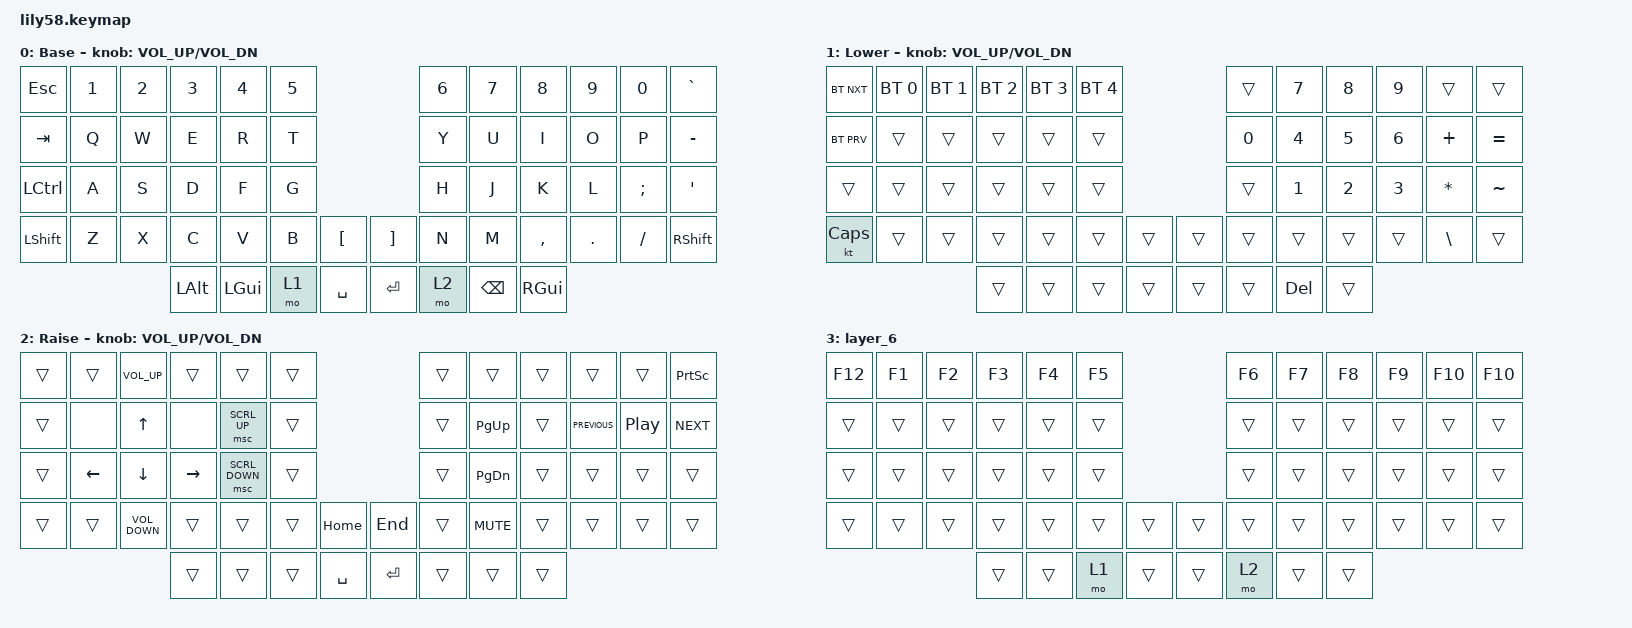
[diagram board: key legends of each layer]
/*
 * Copyright (c) 2020 The ZMK Contributors
 *
 * SPDX-License-Identifier: MIT
 */

#include <behaviors.dtsi>
#include <dt-bindings/zmk/bt.h>
#include <dt-bindings/zmk/keys.h>
#include <dt-bindings/zmk/pointing.h>

/ {
    keymap {
        compatible = "zmk,keymap";

        default_layer {
            // ------------------------------------------------------------------------------------------------------------
            // |  ESC  |  1  |  2  |  3   |  4   |  5   |                   |  6   |  7    |  8    |  9   |   0   |   `   |
            // |  TAB  |  Q  |  W  |  E   |  R   |  T   |                   |  Y   |  U    |  I    |  O   |   P   |   -   |
            // |  CTRL |  A  |  S  |  D   |  F   |  G   |                   |  H   |  J    |  K    |  L   |   ;   |   '   |
            // | SHIFT |  Z  |  X  |  C   |  V   |  B   |   "["  |  |  "]"  |  N   |  M    |  ,    |  .   |   /   | SHIFT |
            //                     | ALT  | GUI  | LOWER|  SPACE |  | ENTER | RAISE| BSPC  | GUI   |

            display-name = "Base";
            bindings = <
&kp ESC    &kp N1  &kp N2  &kp N3    &kp N4    &kp N5                         &kp N6  &kp N7    &kp N8     &kp N9   &kp N0    &kp GRAVE
&kp TAB    &kp Q   &kp W   &kp E     &kp R     &kp T                          &kp Y   &kp U     &kp I      &kp O    &kp P     &kp MINUS
&kp LCTRL  &kp A   &kp S   &kp D     &kp F     &kp G                          &kp H   &kp J     &kp K      &kp L    &kp SEMI  &kp SQT
&kp LSHFT  &kp Z   &kp X   &kp C     &kp V     &kp B   &kp LBKT     &kp RBKT  &kp N   &kp M     &kp COMMA  &kp DOT  &kp FSLH  &kp RSHFT
                           &kp LALT  &kp LGUI  &mo 1   &kp SPACE    &kp RET   &mo 2   &kp BSPC  &kp RGUI
            >;

            sensor-bindings = <&inc_dec_kp C_VOL_UP C_VOL_DN>;
        };

        lower_layer {
            // ------------------------------------------------------------------------------------------------------------
            // | BTCLR | BT1 | BT2 |  BT3 |  BT4 |  BT5 |                   |      |       |       |      |       |       |
            // |  F1   |  F2 |  F3 |  F4  |  F5  |  F6  |                   |  F7  |  F8   |  F9   |  F10 |  F11  |  F12  |
            // |   `   |  !  |  @  |  #   |  $   |  %   |                   |  ^   |  &    |  *    |  (   |   )   |   ~   |
            // |       |     |     |      |      |      |        |  |       |      |  _    |  +    |  {   |   }   |  "|"  |
            //                     |      |      |      |        |  |       |      |       |       |

            display-name = "Lower";
            bindings = <
&bt BT_NXT    &bt BT_SEL 0  &bt BT_SEL 1  &bt BT_SEL 2  &bt BT_SEL 3  &bt BT_SEL 4                    &trans  &kp N7        &kp N8  &kp N9        &trans         &trans
&bt BT_PRV    &trans        &trans        &trans        &trans        &trans                          &kp N0  &kp NUMBER_4  &kp N5  &kp NUMBER_6  &kp PLUS       &kp EQUAL
&trans        &trans        &trans        &trans        &trans        &trans                          &trans  &kp N1        &kp N2  &kp N3        &kp ASTRK      &kp TILDE
&kt CAPSLOCK  &trans        &trans        &trans        &trans        &trans        &trans    &trans  &trans  &trans        &trans  &trans        &kp BACKSLASH  &trans
                                          &trans        &trans        &trans        &trans    &trans  &trans  &kp DEL       &trans
            >;

            sensor-bindings = <&inc_dec_kp C_VOL_UP C_VOL_DN>;
        };

        raise_layer {
            // ------------------------------------------------------------------------------------------------------------
            // |       |     |     |      |      |      |                   |      |       |       |      |       |       |
            // |   `   |  1  |  2  |  3   |  4   |  5   |                   |  6   |   7   |   8   |  9   |   0   |       |
            // |   F1  |  F2 |  F3 |  F4  |  F5  |  F6  |                   |      |   <-  |   v   |  ^   |  ->   |       |
            // |   F7  |  F8 |  F9 |  F10 |  F11 |  F12 |        |  |       |  +   |   -   |   =   |  [   |   ]   |   \   |
            //                     |      |      |      |        |  |       |      |       |       |

            display-name = "Raise";
            bindings = <
&trans  &trans          &kp C_VOLUME_UP    &trans     &trans          &trans                          &trans  &trans      &trans  &trans          &trans            &kp PRINTSCREEN
&trans  &none           &kp UP_ARROW       &none      &msc SCRL_UP    &trans                          &trans  &kp PG_UP   &trans  &kp C_PREVIOUS  &kp C_PLAY_PAUSE  &kp C_NEXT
&trans  &kp LEFT_ARROW  &kp DOWN           &kp RIGHT  &msc SCRL_DOWN  &trans                          &trans  &kp PG_DN   &trans  &trans          &trans            &trans
&trans  &trans          &kp C_VOLUME_DOWN  &trans     &trans          &trans  &kp HOME     &kp END    &trans  &kp C_MUTE  &trans  &trans          &trans            &trans
                                           &trans     &trans          &trans  &kp SPACE    &kp ENTER  &trans  &trans      &trans
            >;

            sensor-bindings = <&inc_dec_kp C_VOL_UP C_VOL_DN>;
        };

        layer_6 {
            bindings = <
&kp F12  &kp F1  &kp F2  &kp F3  &kp F4  &kp F5                    &kp F6  &kp F7  &kp F8  &kp F9  &kp F10  &kp F10
&trans   &trans  &trans  &trans  &trans  &trans                    &trans  &trans  &trans  &trans  &trans   &trans
&trans   &trans  &trans  &trans  &trans  &trans                    &trans  &trans  &trans  &trans  &trans   &trans
&trans   &trans  &trans  &trans  &trans  &trans  &trans    &trans  &trans  &trans  &trans  &trans  &trans   &trans
                         &trans  &trans  &mo 1   &trans    &trans  &mo 2   &trans  &trans
            >;
        };

        extra_1 { status = "reserved"; };

        extra_2 { status = "reserved"; };

        extra_3 { status = "reserved"; };
    };

    conditional_layers {
        compatible = "zmk,conditional-layers";

        double_tap {
            if-layers = <1 2>;
            then-layer = <4>;
        };
    };
};
